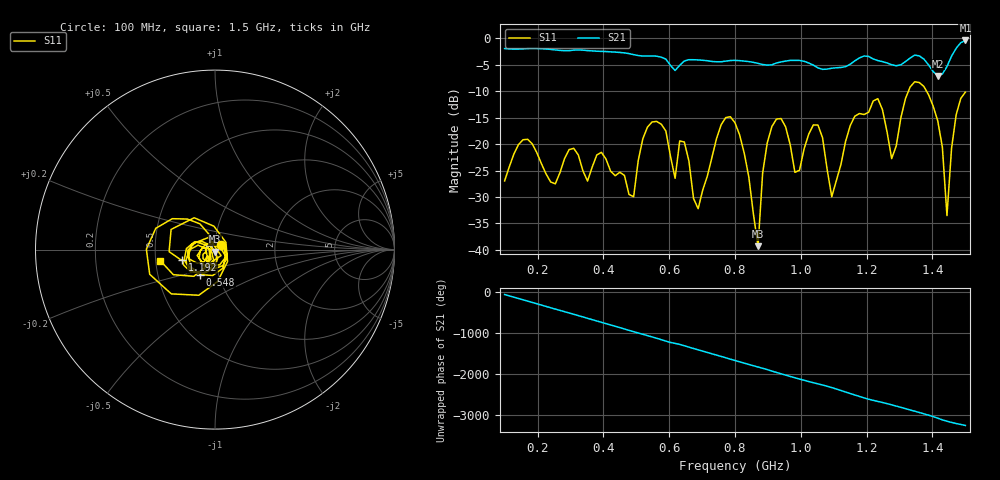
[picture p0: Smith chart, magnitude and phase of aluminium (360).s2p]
! NanoVNA-App
! Date: 2025-09-25 14:58:05
! Start: 100MHz Stop: 1,5GHz Points: 101
! S-Parameter data: F S11 S21 S12 S22
# Hz S RI R 50
!  Frequency  S11_Real  S11_Imag  S21_Real  S21_Imag  S12_Real  S12_Imag  S22_Real  S22_Imag
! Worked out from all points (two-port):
!   101 points, 100 MHz to 1.5 GHz, reference 50 ohm
!   highest |S21| = -0.39 dB at 1.5 GHz (marker M1); lowest = -7.1 dB at 1.416 GHz (marker M2)
!   |S21| within 3 dB of the highest: start of sweep to 564 MHz; 1.458 GHz to end of sweep (the widest 2 of 4)
!   lowest |S11| = -39.3 dB at 870 MHz (marker M3), VSWR 1.02, Z = 50.2 - j1.07 ohm
!   |S11| at or under -10 dB: start of sweep to 1.327 GHz; 1.382 GHz to end of sweep
!   S12 and S22 are empty: the file has one direction only
!   S11 on the Smith chart (normalised r, x): 100 MHz: 1.07, +0.06; 548 MHz: 0.82, -0.23; 1.192 GHz: 0.69, -0.08; 1.5 GHz: 0.53, -0.07
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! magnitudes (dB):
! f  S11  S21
! 100 MHz  -27.0  -1.9
! 156 MHz  -19.2  -2.0
! 338 MHz  -25.1  -2.2
! 492 MHz  -29.9  -3.1
! 548 MHz  -15.8  -3.3
! 576 MHz  -16.2  -3.5
! 646 MHz  -19.6  -4.3
! 688 MHz  -32.2  -4.1
! 800 MHz  -16.0  -4.2
! 870 MHz  -39.3  -4.7
! 912 MHz  -16.7  -5.0
! 982 MHz  -25.3  -4.2
! 1.038 GHz  -16.4  -5.1
! 1.094 GHz  -29.9  -5.6
! 1.192 GHz  -14.4  -3.3
! 1.234 GHz  -11.4  -4.2
! 1.276 GHz  -22.7  -5.0
! 1.346 GHz  -8.2  -3.2
! 1.416 GHz  -15.6  -7.1
! 1.444 GHz  -33.5  -5.3
! 1.472 GHz  -14.4  -1.9
! 1.5 GHz  -10.2  -0.4
